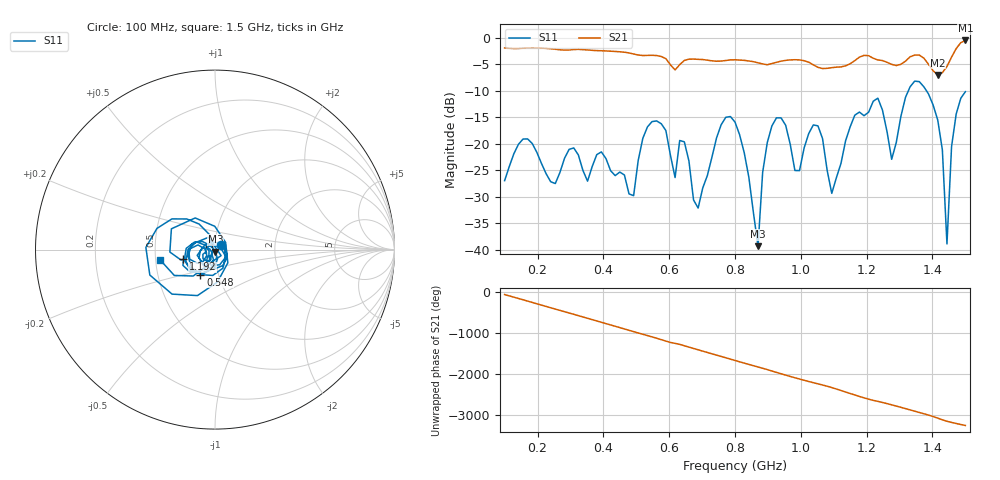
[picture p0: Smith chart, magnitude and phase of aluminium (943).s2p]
! NanoVNA-App
! Date: 2025-09-25 15:02:37
! Start: 100MHz Stop: 1,5GHz Points: 101
! S-Parameter data: F S11 S21 S12 S22
# Hz S RI R 50
!  Frequency  S11_Real  S11_Imag  S21_Real  S21_Imag  S12_Real  S12_Imag  S22_Real  S22_Imag
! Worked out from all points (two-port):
!   101 points, 100 MHz to 1.5 GHz, reference 50 ohm
!   highest |S21| = -0.51 dB at 1.5 GHz (marker M1); lowest = -7.0 dB at 1.416 GHz (marker M2)
!   |S21| within 3 dB of the highest: start of sweep to 573.7 MHz; 1.459 GHz to end of sweep (the widest 2 of 4)
!   lowest |S11| = -39.3 dB at 870 MHz (marker M3), VSWR 1.02, Z = 50.2 - j1.06 ohm
!   |S11| at or under -10 dB: start of sweep to 1.327 GHz; 1.382 GHz to end of sweep
!   S12 and S22 are empty: the file has one direction only
!   S11 on the Smith chart (normalised r, x): 100 MHz: 1.07, +0.06; 548 MHz: 0.82, -0.23; 1.192 GHz: 0.70, -0.08; 1.5 GHz: 0.53, -0.07
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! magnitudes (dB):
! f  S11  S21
! 100 MHz  -27.0  -1.9
! 156 MHz  -19.1  -2.0
! 338 MHz  -25.0  -2.2
! 492 MHz  -29.8  -3.1
! 548 MHz  -15.8  -3.3
! 576 MHz  -16.2  -3.5
! 646 MHz  -19.6  -4.3
! 688 MHz  -32.1  -4.1
! 800 MHz  -15.9  -4.2
! 870 MHz  -39.3  -4.7
! 912 MHz  -16.6  -4.9
! 996 MHz  -25.1  -4.2
! 1.038 GHz  -16.4  -5.1
! 1.094 GHz  -29.3  -5.6
! 1.192 GHz  -14.7  -3.3
! 1.234 GHz  -11.4  -4.2
! 1.276 GHz  -22.9  -5.0
! 1.346 GHz  -8.2  -3.3
! 1.416 GHz  -15.5  -7.0
! 1.444 GHz  -38.9  -5.4
! 1.458 GHz  -20.5  -3.6
! 1.5 GHz  -10.2  -0.5
